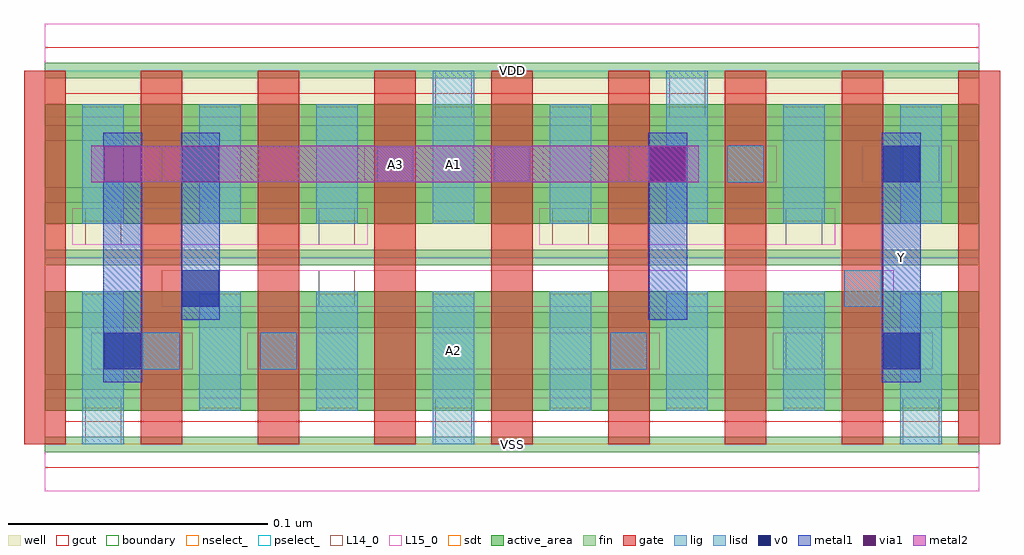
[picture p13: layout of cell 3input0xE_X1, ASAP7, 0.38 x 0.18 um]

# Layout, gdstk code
import gdstk
lib = gdstk.Library(unit=1e-6, precision=2.5e-10)
def R(c, l, rs):  # rectangles x0, y0, x1, y1
    for r in rs: c.add(gdstk.rectangle(r[:2], r[2:], *l))
def A(c, l, x, y, w, h, nx, ny, dx, dy):  # array of equal rectangles
    R(c, l, [(x+i*dx, y+j*dy, x+i*dx+w, y+j*dy+h) for i in range(nx) for j in range(ny)])
def P(c, l, *ps):  # polygons
    for p in ps: c.add(gdstk.Polygon(p, *l))
well = (1, 0)
fin = (2, 0)
gate = (7, 0)
gcut = (10, 0)
active_area = (11, 0)
nselect_ = (12, 0)
pselect_ = (13, 0)
L14_0 = (14, 0)
L15_0 = (15, 0)
lig = (16, 0)
lisd = (17, 0)
v0 = (18, 0)
metal1 = (19, 0)
metal2 = (20, 0)
via1 = (21, 0)
sdt = (88, 0)
boundary = (100, 0)

c_3input0xe_x1 = lib.new_cell('3input0xE_X1')
R(c_3input0xe_x1, well, [(0,0.072,0.36,0.144)])
A(c_3input0xe_x1, fin, 0, -0.003, 0.36, 0.006, 1, 7, 0, 0.024)
A(c_3input0xe_x1, gate, -0.008, 0, 0.016, 0.144, 9, 1, 0.045, 0)
P(c_3input0xe_x1, gcut, [(0,-0.009),(0,0),(-0.008,0),(-0.008,0.135),(0.008,0.135),(0.008,0.009),(0.352,0.009),(0.352,0.135),(-0.008,0.135),(-0.008,0.144),(0,0.144),(0,0.153),(0.36,0.153),(0.36,0.144),(0.368,0.144),(0.368,0),(0.36,0),(0.36,-0.009)])
R(c_3input0xe_x1, active_area, [(0,0.013,0.36,0.059), (0,0.085,0.36,0.131)])
R(c_3input0xe_x1, nselect_, [(0,0,0.36,0.072)])
R(c_3input0xe_x1, pselect_, [(0,0.072,0.36,0.144)])
A(c_3input0xe_x1, L14_0, 0.0155, 0.077, 0.014, 0.014, 4, 1, 0.09, 0)
R(c_3input0xe_x1, L14_0, [(0.0155,0,0.0295,0.018), (0.1505,0,0.1645,0.018), (0.3305,0,0.3445,0.018), (0.038,0.029,0.052,0.043), (0.083,0.029,0.097,0.043), (0.218,0.029,0.232,0.043), (0.2855,0.029,0.2995,0.043), (0.1055,0.053,0.1195,0.067), (0.308,0.053,0.322,0.067), (0.0605,0.101,0.0745,0.115), (0.128,0.101,0.142,0.115), (0.173,0.101,0.187,0.115), (0.263,0.101,0.277,0.115), (0.3305,0.101,0.3445,0.115), (0.1505,0.126,0.1645,0.144), (0.2405,0.126,0.2545,0.144)])
R(c_3input0xe_x1, L15_0, [(0,-0.018,0.36,0.018), (0.018,0.029,0.057,0.043), (0.078,0.029,0.237,0.043), (0.2805,0.029,0.342,0.043), (0.045,0.053,0.327,0.067), (0.0105,0.077,0.1245,0.091), (0.1905,0.077,0.3045,0.091), (0.045,0.101,0.0795,0.115), (0.123,0.101,0.192,0.115), (0.225,0.101,0.282,0.115), (0.315,0.101,0.3495,0.115), (0,0.126,0.36,0.162)])
R(c_3input0xe_x1, lig, [(0.038,0.029,0.052,0.043), (0.083,0.029,0.097,0.043), (0.218,0.029,0.232,0.043), (0.308,0.053,0.322,0.067), (0.128,0.101,0.142,0.115), (0.173,0.101,0.187,0.115), (0.263,0.101,0.277,0.115)])
A(c_3input0xe_x1, lisd, 0.1945, 0.013, 0.016, 0.046, 3, 1, 0.045, 0)
A(c_3input0xe_x1, lisd, 0.0145, 0.085, 0.016, 0.046, 3, 1, 0.045, 0)
R(c_3input0xe_x1, lisd, [(0.0145,0,0.0305,0.059), (0.1495,0,0.1655,0.059), (0.3295,0,0.3455,0.059), (0.0595,0.013,0.0755,0.059), (0.1045,0.013,0.1205,0.059), (0.1495,0.085,0.1655,0.144), (0.1945,0.085,0.2105,0.131), (0.2395,0.085,0.2555,0.144), (0.2845,0.085,0.3005,0.131), (0.3295,0.085,0.3455,0.131)])
R(c_3input0xe_x1, v0, [(0.023,0.029,0.037,0.043), (0.323,0.029,0.337,0.043), (0.053,0.053,0.067,0.067), (0.053,0.101,0.067,0.115), (0.233,0.101,0.247,0.115), (0.323,0.101,0.337,0.115)])
R(c_3input0xe_x1, metal1, [(0.0225,0.024,0.0375,0.12), (0.3225,0.024,0.3375,0.12), (0.0525,0.048,0.0675,0.12), (0.2325,0.048,0.2475,0.12)])
R(c_3input0xe_x1, metal2, [(0.018,0.101,0.252,0.115)])
R(c_3input0xe_x1, via1, [(0.023,0.101,0.037,0.115), (0.233,0.101,0.247,0.115)])
A(c_3input0xe_x1, sdt, 0.0145, 0.014, 0.016, 0.044, 8, 2, 0.045, 0.072)
R(c_3input0xe_x1, boundary, [(0,0,0.36,0.144)])
c_3input0xe_x1.add(gdstk.Label('A2', (0.1575,0.036), layer=15, texttype=251))
c_3input0xe_x1.add(gdstk.Label('VSS', (0.18,0), layer=15, texttype=251))
c_3input0xe_x1.add(gdstk.Label('VDD', (0.18,0.144), layer=15, texttype=251))
c_3input0xe_x1.add(gdstk.Label('VSS', (0.18,0), layer=15, texttype=251))
c_3input0xe_x1.add(gdstk.Label('VDD', (0.18,0.144), layer=15, texttype=251))
c_3input0xe_x1.add(gdstk.Label('VSS', (0.18,0), layer=15, texttype=251))
c_3input0xe_x1.add(gdstk.Label('VDD', (0.18,0.144), layer=15, texttype=251))
c_3input0xe_x1.add(gdstk.Label('A1', (0.1575,0.108), layer=15, texttype=251))
c_3input0xe_x1.add(gdstk.Label('VSS', (0.18,0), layer=15, texttype=251))
c_3input0xe_x1.add(gdstk.Label('VDD', (0.18,0.144), layer=15, texttype=251))
c_3input0xe_x1.add(gdstk.Label('VSS', (0.18,0), layer=3, texttype=251))
c_3input0xe_x1.add(gdstk.Label('VSS', (0.18,0), layer=3, texttype=251))
c_3input0xe_x1.add(gdstk.Label('VSS', (0.18,0), layer=3, texttype=251))
c_3input0xe_x1.add(gdstk.Label('VSS', (0.18,0), layer=3, texttype=251))
c_3input0xe_x1.add(gdstk.Label('VDD', (0.18,0.144), layer=1, texttype=251))
c_3input0xe_x1.add(gdstk.Label('VDD', (0.18,0.144), layer=1, texttype=251))
c_3input0xe_x1.add(gdstk.Label('VDD', (0.18,0.144), layer=1, texttype=251))
c_3input0xe_x1.add(gdstk.Label('VDD', (0.18,0.144), layer=1, texttype=251))
c_3input0xe_x1.add(gdstk.Label('Y', (0.33,0.072), layer=19, texttype=251))
c_3input0xe_x1.add(gdstk.Label('A3', (0.135,0.108), layer=20, texttype=251))

lib.write_gds('3input0xE_X1.gds')
